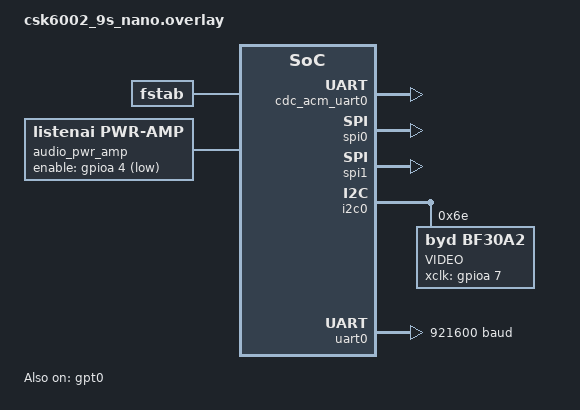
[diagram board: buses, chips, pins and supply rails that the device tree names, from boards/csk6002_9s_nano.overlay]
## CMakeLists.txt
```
cmake_minimum_required(VERSION 3.20.0)
# Copyright (c) 2018 Nordic Semiconductor ASA
# Copyright (c) 2019 Linaro Limited
#
# SPDX-License-Identifier: Apache-2.0
#
#set(ZEPHYR_EXTRA_MODULES $ENV{ZEPHYR_BASE}/../modules/lib/sof_host)


find_package(Zephyr REQUIRED HINTS $ENV{ZEPHYR_BASE})

target_sources(app PRIVATE  src/main.c)
zephyr_compile_options(-g3 -gdwarf-2)


project(sof-dsp)
```

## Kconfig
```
# Private config options for load sencond core firmware app

# SPDX-License-Identifier: Apache-2.0

# Workaround for not being able to have commas in macro arguments

# path to custom driver Kconfig file.


DT_CHOSEN_Z_FLASH_SYSFS_STORAGE := zephyr,flash_sysfs_storage
DT_CHOSEN_Z_FLASH_CONTROLLER := zephyr,flash_controller
DT_CHOSEN_Z_INN_FLASH := zephyr,flash


if DISK_DRIVER_FLASH

	config DISK_FLASH_START
		default "$(dt_chosen_reg_addr_hex,$(DT_CHOSEN_Z_FLASH_SYSFS_STORAGE))"

	config DISK_FLASH_DEV_NAME
		default "$(dt_chosen_label,$(DT_CHOSEN_Z_FLASH_CONTROLLER))"

	config DISK_VOLUME_SIZE
		default "$(dt_chosen_reg_size_hex,$(DT_CHOSEN_Z_FLASH_SYSFS_STORAGE))"


	config DISK_FLASH_MAX_RW_SIZE
		default 4096
		#default $(dt_node_int_prop_hex,$(DT_CHOSEN_Z_INN_FLASH),erase-block-size)

	config DISK_FLASH_ERASE_ALIGNMENT
		default 0x1000
		#default "$(dt_node_int_prop_hex,$(DT_CHOSEN_Z_INN_FLASH),erase-block-size)"

	config DISK_ERASE_BLOCK_SIZE
		default 0x1000
		#default "$(dt_node_int_prop_hex,$(DT_CHOSEN_Z_INN_FLASH),erase-block-size)"
endif


source "Kconfig.zephyr"
```

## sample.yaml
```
tests:
  sample.board.csk6.subsys.sof_host:
    platform_allow: csk6002_c3_nano csk6002_9s_nano csk6011a_9s_nano
    skip: true
    tags: csk6
```

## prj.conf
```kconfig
CONFIG_PRINTK=y
CONFIG_DEBUG=y
CONFIG_LOG=y
CONFIG_LOG_PRINTK=y
# CONFIG_LOG_MODE_IMMEDIATE=y
CONFIG_LOG_BUFFER_SIZE=40960
CONFIG_LOG_STRDUP_MAX_STRING=128
CONFIG_LOG_STRDUP_BUF_COUNT=64
CONFIG_LOG_DETECT_MISSED_STRDUP=n
CONFIG_LOG_BACKEND_SHOW_COLOR=n
CONFIG_LOG_BACKEND_FORMAT_TIMESTAMP=n
CONFIG_LOG_BACKEND_UART=y
CONFIG_LOG_BACKEND_UART_OUTPUT_TEXT=y
CONFIG_GPIO=y
CONFIG_MAIN_STACK_SIZE=2048
CONFIG_HEAP_MEM_POOL_SIZE=92160


#psram init
CONFIG_CSK6_PSRAM=y
CONFIG_NEWLIB_LIBC=y

#file system
CONFIG_FLASH=y
CONFIG_FLASH_MAP=y
CONFIG_FILE_SYSTEM=y
CONFIG_FS_FATFS_CODEPAGE=936
CONFIG_FS_FATFS_LFN=y
CONFIG_FS_FATFS_MAX_LFN=255
CONFIG_FS_FATFS_LFN_MODE_BSS=y
CONFIG_DISK_DRIVER_FLASH=y

#usb mass storage
CONFIG_USB_DEVICE_STACK=y
CONFIG_USB_DEVICE_PRODUCT="Zephyr DFU sample"
CONFIG_USB_MASS_STORAGE=y
CONFIG_MASS_STORAGE_STACK_SIZE=2048
CONFIG_SYSTEM_WORKQUEUE_STACK_SIZE=2048
CONFIG_MASS_STORAGE_DISK_NAME="NAND"

#CONFIG_USB_DRIVER_LOG_LEVEL_ERR=y
#CONFIG_USB_DEVICE_LOG_LEVEL_ERR=y
#CONFIG_USB_MASS_STORAGE_LOG_LEVEL_ERR=y
#CONFIG_USB_DRIVER_LOG_LEVEL_ERR=y

#usb cdc




#Fixd for WinUSB driver install.
CONFIG_USB_DEVICE_VID=0x2FE3
CONFIG_USB_DEVICE_PID=0x200


CONFIG_FAT_FILESYSTEM_ELM=y
#CONFIG_AVF_USE_FS_LITTLEFS=y
#CONFIG_FILE_SYSTEM_LITTLEFS=y
CONFIG_POSIX_MAX_FDS=16



#shell
CONFIG_SHELL_ARGC_MAX=16
CONFIG_SHELL=y
```

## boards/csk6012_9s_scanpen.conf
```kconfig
# use avf example and shell command
CONFIG_AVF_EXAMPLE=y
CONFIG_AVF_SHELL=y

# CP XIP 
# CONFIG_AVF_DSP_XIP=y

# 32MB flash need to initialize at AP firstly, before CP access (16MB-32MB) position 
CONFIG_FLASH=y

# CONFIG_EARLY_CONSOLE=y
# CONFIG_SHELL_BACKEND_SERIAL_INIT_PRIORITY=51

# CONFIG_AVF_DSP_FIRMWARE_LOAD_DEBUG=y
```

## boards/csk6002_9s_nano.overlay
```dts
/*
 * SPDX-License-Identifier: Apache-2.0
 */
 /delete-node/ &storage_partition;

 / {
	 chosen {
		 /*
		  * shared memory reserved for the inter-processor communication
		  */
		 zephyr,ipc_shm = &psram_share;
		 zephyr,ipc = &mailbox0;
		 zephyr,flash_sysfs_storage = &filesystem_part;
		 zephyr,flash_controller = &flash;
		 zephyr,uart-mcumgr = &uart0;
	 };

	 aliases {
		 avf-audio-pwr-amp = &pwr_amp;
	 };

	 fstab {
		 compatible = "zephyr,fstab";
		 lfs1: lfs1 {
			 compatible = "zephyr,fstab,littlefs";
			 mount-point = "/lfs1";
			 partition = <&filesystem_part>;
			 automount ;
			 no-format;
			 read-size = <16>;
			 prog-size = <16>;
			 cache-size = <64>;
			 lookahead-size = <32>;
			 block-cycles = <512>;
		 };
	 };

	 pwr_amp:audio_pwr_amp{
		 compatible = "listenai,pwr-amp";
		 enable-gpios = <&gpioa 4 1>;
		 label = "audio_pwr_amp";
		 status = "okay";
	 };

 };


 &flash0 {
	 partitions {
		 compatible = "fixed-partitions";
		 #address-cells = <1>;
		 #size-cells = <1>;
		 filesystem_part: partition@160000 {
			 label = "filesystem";
			 reg = <0x160000 0x00300000>;
		 };
		 /*
		  * Reserve the final 640 KiB for file system partition
		  */
		 storage_partition: partition@460000 {
			 label = "storage";
			 reg = <0x460000 0x03a0000>;
		 };


	 };
 };

 &zephyr_udc0 {
	 cdc_acm_uart0 {
		 compatible = "zephyr,cdc-acm-uart";
		 label = "CDC_ACM_0";
	 };
 };

 &gpt0 {
	 status = "okay";
	 pwm5: pwm5 {
		 status = "disabled";
	 };

	 pwm4: pwm4 {
		 status = "disabled";
	 };

	 pwm6: pwm6 {
		 status = "disabled";
	 };
 };

 &spi0 {
	 status = "okay";
	 spi-max-frequency = <25000000>;
 };


&spi1 {
    status = "okay";
    spi-max-frequency = <100000000>;
    pinctrl-0 = <&pinctrl_spi1_sclk_default &pinctrl_spi1_mosi_default &pinctrl_spi1_cs_default>;
	pinctrl-names = "default";
};

&csk6002_9s_nano_pinctrl{
                 pinctrl_i2c0_scl_default: i2c0_scl_default{
                         pinctrls = <&pinmuxb 2 8>;
                 };

                 pinctrl_i2c0_sda_default: i2c0_sda_default{
                         pinctrls = <&pinmuxb 3 8>;
                 };

                pinctrl_spi1_sclk_default: spi1_sclk_default {
                    pinctrls = < &pinmuxb 0 7 >;
                };

                pinctrl_spi1_mosi_default: spi1_mosi_default {
                    pinctrls = < &pinmuxb 1 7 >;
                };

                pinctrl_spi1_cs_default: spi1_cs_default {
                    pinctrls = < &pinmuxa 9 7 >;
                };

};

&i2c0 {
        status = "okay";
        pinctrl-0 = <&pinctrl_i2c0_scl_default &pinctrl_i2c0_sda_default>;
        pinctrl-names = "default";

        bf30a2: bf30a2@6e {
            compatible = "byd,bf30a2";
            status = "okay";
            label = "VIDEO";
            reg = <0x6e>;
            xclk-gpios = <&gpioa 7 0>;
            product-id = <0x3b02>;
            spi = <&spi1>;
        };
};

&uart0 {
    current-speed = <921600>;
};
```

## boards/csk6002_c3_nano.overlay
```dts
/*
 * SPDX-License-Identifier: Apache-2.0
 */
/delete-node/ &storage_partition;

/ {
	chosen {
		/*
		 * shared memory reserved for the inter-processor communication
		 */
		zephyr,ipc_shm = &psram_share;
		zephyr,ipc = &mailbox0;
		zephyr,flash_sysfs_storage = &filesystem_part;
		zephyr,flash_controller = &flash;
		zephyr,uart-mcumgr = &uart0;
	};

	aliases {
		avf-audio-pwr-amp = &pwr_amp;
	};

	fstab {
		compatible = "zephyr,fstab";
		lfs1: lfs1 {
			compatible = "zephyr,fstab,littlefs";
			mount-point = "/lfs1";
			partition = <&filesystem_part>;
			automount ;
			no-format;
			read-size = <16>;
			prog-size = <16>;
			cache-size = <64>;
			lookahead-size = <32>;
			block-cycles = <512>;
		};
	};

	pwr_amp:audio_pwr_amp{
		compatible = "listenai,pwr-amp";
		enable-gpios = <&gpioa 4 1>;
		label = "audio_pwr_amp";	
		status = "okay";
	};

};

 
&flash0 {
	partitions {
		compatible = "fixed-partitions";
		#address-cells = <1>;
		#size-cells = <1>;
		filesystem_part: partition@160000 {
			label = "filesystem";
			reg = <0x160000 0x00300000>;
		};
		/*
		 * Reserve the final 640 KiB for file system partition
		 */
		storage_partition: partition@460000 {
			label = "storage";
			reg = <0x460000 0x03a0000>;
		};


	};
};

&zephyr_udc0 {
	cdc_acm_uart0 {
		compatible = "zephyr,cdc-acm-uart";
		label = "CDC_ACM_0";
	};
};

&gpt0 {
	status = "okay";
    pwm5: pwm5 {
        status = "disabled";
    };

	pwm4: pwm4 {
		status = "disabled";
    };

	pwm6: pwm6 {
        status = "disabled";
    };	
};

&spi0 {
    status = "okay";
    spi-max-frequency = <25000000>;
};


&spi1 {
    status = "okay";
    spi-max-frequency = <100000000>;
    pinctrl-0 = <&pinctrl_spi1_sclk_default &pinctrl_spi1_mosi_default &pinctrl_spi1_cs_default>; 
	pinctrl-names = "default";
};

&csk6002_c3_nano_pinctrl{
                 pinctrl_i2c0_scl_default: i2c0_scl_default{
                         pinctrls = <&pinmuxb 2 8>;
                 };
                 
                 pinctrl_i2c0_sda_default: i2c0_sda_default{
                         pinctrls = <&pinmuxb 3 8>;
                 };

                pinctrl_spi1_sclk_default: spi1_sclk_default {
                    pinctrls = < &pinmuxb 0 7 >;
                };

                pinctrl_spi1_mosi_default: spi1_mosi_default {
                    pinctrls = < &pinmuxb 1 7 >;
                };

                pinctrl_spi1_cs_default: spi1_cs_default {
                    pinctrls = < &pinmuxa 9 7 >;
                };

};

&i2c0 {
        status = "okay";
        pinctrl-0 = <&pinctrl_i2c0_scl_default &pinctrl_i2c0_sda_default>; 
        pinctrl-names = "default";

        bf30a2: bf30a2@6e {
            compatible = "byd,bf30a2";
            status = "okay";
            label = "VIDEO";
            reg = <0x6e>;
            pd-gpios = <&gpioa 5 0>;
            pwr-gpios = <&gpioa 5 0>;
            product-id = <0x3b02>;
            spi = <&spi1>;
        };
};

&uart0 {
	current-speed = <921600>;
	status = "okay";
};
```

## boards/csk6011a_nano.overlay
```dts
/*
 * SPDX-License-Identifier: Apache-2.0
 */
/delete-node/ &storage_partition;

/ {
	chosen {
		/*
		 * shared memory reserved for the inter-processor communication
		 */
		zephyr,ipc_shm = &psram_share;
		zephyr,ipc = &mailbox0;
		zephyr,flash_sysfs_storage = &filesystem_part;
		zephyr,flash_controller = &flash;
		zephyr,uart-mcumgr = &uart0;
	};

	aliases {
		avf-audio-pwr-amp = &pwr_amp;
	};

	fstab {
		compatible = "zephyr,fstab";
		lfs1: lfs1 {
			compatible = "zephyr,fstab,littlefs";
			mount-point = "/lfs1";
			partition = <&filesystem_part>;
			automount ;
			no-format;
			read-size = <16>;
			prog-size = <16>;
			cache-size = <64>;
			lookahead-size = <32>;
			block-cycles = <512>;
		};
	};

	pwr_amp:audio_pwr_amp{
		compatible = "listenai,pwr-amp";
		enable-gpios = <&gpioa 4 1>;
		label = "audio_pwr_amp";	
		status = "okay";
	};

};

 
&flash0 {
	partitions {
		compatible = "fixed-partitions";
		#address-cells = <1>;
		#size-cells = <1>;
		filesystem_part: partition@160000 {
			label = "filesystem";
			reg = <0x160000 0x00300000>;
		};
		/*
		 * Reserve the final 640 KiB for file system partition
		 */
		storage_partition: partition@460000 {
			label = "storage";
			reg = <0x460000 0x03a0000>;
		};


	};
};

&zephyr_udc0 {
	cdc_acm_uart0 {
		compatible = "zephyr,cdc-acm-uart";
		label = "CDC_ACM_0";
	};
};

&gpt0 {
	status = "okay";
    pwm5: pwm5 {
        status = "disabled";
    };

	pwm4: pwm4 {
		status = "disabled";
    };

	pwm6: pwm6 {
        status = "disabled";
    };	
};

&spi0 {
    status = "okay";
    spi-max-frequency = <25000000>;
};


&spi1 {
    status = "okay";
    spi-max-frequency = <100000000>;
    pinctrl-0 = <&pinctrl_spi1_sclk_default &pinctrl_spi1_mosi_default &pinctrl_spi1_cs_default>; 
	pinctrl-names = "default";
};

&csk6011a_nano_pinctrl{
                 pinctrl_i2c0_scl_default: i2c0_scl_default{
                         pinctrls = <&pinmuxb 2 8>;
                 };
                 
                 pinctrl_i2c0_sda_default: i2c0_sda_default{
                         pinctrls = <&pinmuxb 3 8>;
                 };

                pinctrl_spi1_sclk_default: spi1_sclk_default {
                    pinctrls = < &pinmuxb 0 7 >;
                };

                pinctrl_spi1_mosi_default: spi1_mosi_default {
                    pinctrls = < &pinmuxb 1 7 >;
                };

                pinctrl_spi1_cs_default: spi1_cs_default {
                    pinctrls = < &pinmuxa 9 7 >;
                };

};

&i2c0 {
        status = "okay";
        pinctrl-0 = <&pinctrl_i2c0_scl_default &pinctrl_i2c0_sda_default>; 
        pinctrl-names = "default";

        bf30a2: bf30a2@6e {
            compatible = "byd,bf30a2";
            status = "okay";
            label = "VIDEO";
            reg = <0x6e>;
            pd-gpios = <&gpioa 5 0>;
            pwr-gpios = <&gpioa 5 0>;
            product-id = <0x3b02>;
            spi = <&spi1>;
        };
};

&uart0 {
	current-speed = <921600>;
	status = "okay";
};
```

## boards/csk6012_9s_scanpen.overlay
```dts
/*
 * Copyright (c) 2021 listenai Intelligent Technology (anhui) Co., Ltd.
 *
 * SPDX-License-Identifier: Apache-2.0
 */
/ {
	chosen {
		/*
		 * shared memory reserved for the inter-processor communication
		 */
		zephyr,ipc_shm = &sof_partition;
		zephyr,ipc = &mailbox0;
		zephyr,flash_sysfs_storage = &filesystem_part;
		zephyr,flash_controller = &flash;
		zephyr,uart-mcumgr = &uart0;
	};

	aliases {
		avf-audio-pwr-amp = &pwr_amp;
	};

	fstab {
		compatible = "zephyr,fstab";
		lfs1: lfs1 {
			compatible = "zephyr,fstab,littlefs";
			mount-point = "/lfs1";
			partition = <&filesystem_part>;
			automount ;
			no-format;
			read-size = <16>;
			prog-size = <16>;
			cache-size = <64>;
			lookahead-size = <32>;
			block-cycles = <512>;
		};
	};

	pwr_amp:audio_pwr_amp{
		compatible = "listenai,pwr-amp";
		enalbe-gpios = <&gpioa 0 0>;
		label = "audio_pwr_amp";	
		status = "okay";
	};

};

/delete-node/ &hifi4_partition;
 
&flash0 {
	partitions {
		compatible = "fixed-partitions";
		#address-cells = <1>;
		#size-cells = <1>;
        /* filesystem: 2.625MB */
        filesystem_part: partition@260000 {
			label = "filesystem";
			reg = <0x260000 0x400000>;
		};
		hifi4_partition: partition@660000 {
			label = "cp-image";
			reg = < 0x660000 0x1a0000>;
		};
	};
};

&i2c0 {
        status = "okay";
        pinctrl-0 = <&pinctrl_i2c0_scl_default &pinctrl_i2c0_sda_default>; 
        pinctrl-names = "default";

        bf30a2: bf30a2@6e {
            compatible = "byd,bf30a2";
            status = "okay";
            label = "VIDEO";
            reg = <0x6e>;
            pd-gpios = <&gpioa 1 0>;
            pwr-gpios = <&gpioa 9 0>;
            product-id = <0x3b02>;
            spi = <&spi0>;
            pwms = <&pwm2 0x2 0x0>;
            xclk-freq = <12500>;
            csk6-spec;
        };
};

&gpt0 {
	status = "okay";

	pwm2: pwm2 {
        clock-prescaler = <1>;
        status = "okay";
        pinctrl-0 = <&pinctrl_pwm2_default>; 
        pinctrl-names = "default";
    };
};

&spi0 {
	    status = "okay";
		    spi-max-frequency = <25000000>;
};

&csk6012_9s_scanpen_pinctrl {

                pinctrl_pwm2_default: pwm2_default{
                    pinctrls = <&pinmuxb 6 11>;
                };

                pinctrl_i2c0_scl_default: i2c0_scl_default{
                        pinctrls = <&pinmuxb 2 8>;
                };
                
                pinctrl_i2c0_sda_default: i2c0_sda_default{
                        pinctrls = <&pinmuxb 3 8>;
                };
};

&uart0 {
	current-speed = <921600>;
};
```

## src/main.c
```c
/*
 *
 * SPDX-License-Identifier: Apache-2.0
 */
#include <zephyr.h>

#include <logging/log.h>

#include <fs/fs.h>


#include <ff.h>


#if(CONFIG_USB_DEVICE_STACK > 0)
#include <usb/usb_device.h>
#endif


#define FS_MOUNT_POINT "/NAND:"
struct fs_mount_t *p_g_fs_mount = NULL;
static struct fs_mount_t fs_mount_p;
static FATFS s_fat_fs;



static void s_fs_show(struct fs_mount_t *mp)
{
	struct fs_statvfs sbuf;
	int rc;

	rc = fs_statvfs(mp->mnt_point, &sbuf);
	if (rc < 0) {
		printk("FAIL: statvfs: %d\n", rc);
		goto out;
	}

	printk("%s: bsize = %lu ; frsize = %lu ;"
	       " blocks = %lu ; bfree = %lu\n",
	       mp->mnt_point, sbuf.f_bsize, sbuf.f_frsize, sbuf.f_blocks, sbuf.f_bfree);

	struct fs_dir_t dir;

	fs_dir_t_init(&dir);

	rc = fs_opendir(&dir, mp->mnt_point);
	printk("%s opendir: %d\n", mp->mnt_point, rc);

	while (rc >= 0) {
		struct fs_dirent ent = { 0 };

		rc = fs_readdir(&dir, &ent);
		if (rc < 0) {
			break;
		}
		if (ent.name[0] == 0) {
			printk("End of files\n");
			break;
		}
		printk("  %c %zu %s\n", (ent.type == FS_DIR_ENTRY_FILE) ? 'F' : 'D', ent.size,
		       ent.name);
	}

	(void)fs_closedir(&dir);
	printk("%s closedir\n", mp->mnt_point);
out:
	return;
}

static int s_fs_mount(void)
{
	struct fs_mount_t *mp;
	int rc;

	if (p_g_fs_mount != NULL) {
		printk("The mount point<%s> busy!\n", p_g_fs_mount->mnt_point);
		return -1;
	}
	p_g_fs_mount = &fs_mount_p;
	mp = p_g_fs_mount;
	memset(mp, 0, sizeof(struct fs_mount_t));
	mp->type = FS_FATFS;
	/*mp->flags |= FS_MOUNT_FLAG_NO_FORMAT;*/
	mp->fs_data = &s_fat_fs;
	mp->mnt_point = FS_MOUNT_POINT;
	rc = fs_mount(mp);
	if (rc < 0) {
		printk("FAIL: mount id %" PRIuPTR " at %s: %d\n", (uintptr_t)mp->storage_dev,
		       mp->mnt_point, rc);
		return rc;
	}
	printk("%s mount: %d\n", mp->mnt_point, rc);

	s_fs_show(mp);

	return 0;
}



void main(void)
{

	s_fs_mount();


	while (1) {
		k_msleep(1000);
	}
}
```

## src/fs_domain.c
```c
#include <zephyr.h>
#include <fs/fs.h>
#include <devicetree.h>
#if defined(CONFIG_AVF_USE_FS_LITTLEFS)
#include <fs/littlefs.h>
#include <storage/flash_map.h>

#elif defined(CONFIG_AVF_USE_FS_FATFS)
#include <ff.h>
#endif

#if(CONFIG_USB_DEVICE_STACK > 0)
#include <usb/usb_device.h>
#endif

#if defined(CONFIG_AVF_USE_FS_LITTLEFS) || defined(CONFIG_AVF_USE_FS_FATFS)

#if defined(CONFIG_AVF_USE_FS_LITTLEFS)
/* Matches LFS_NAME_MAX */
#define MAX_PATH_LEN 255
#define PARTITION_NODE DT_NODELABEL(lfs1)
#if DT_NODE_EXISTS(PARTITION_NODE)
FS_FSTAB_DECLARE_ENTRY(PARTITION_NODE);
struct fs_mount_t *p_g_fs_mount = &FS_FSTAB_ENTRY(PARTITION_NODE);
#else /* PARTITION_NODE */
#error "Please declare the region of the file system first"
#endif /* PARTITION_NODE */
#elif defined(CONFIG_AVF_USE_FS_FATFS)
#define FS_MOUNT_POINT CONFIG_AVF_FS_MOUNT_POINT
struct fs_mount_t *p_g_fs_mount = NULL;
static struct fs_mount_t fs_mount_p;
static FATFS s_fat_fs;

#endif

static void s_fs_show(struct fs_mount_t *mp)
{
	struct fs_statvfs sbuf;
	int rc;

	rc = fs_statvfs(mp->mnt_point, &sbuf);
	if (rc < 0) {
		printk("FAIL: statvfs: %d\n", rc);
		goto out;
	}

	printk("%s: bsize = %lu ; frsize = %lu ;"
	       " blocks = %lu ; bfree = %lu\n",
	       mp->mnt_point, sbuf.f_bsize, sbuf.f_frsize, sbuf.f_blocks, sbuf.f_bfree);

	struct fs_dir_t dir;

	fs_dir_t_init(&dir);

	rc = fs_opendir(&dir, mp->mnt_point);
	printk("%s opendir: %d\n", mp->mnt_point, rc);

	while (rc >= 0) {
		struct fs_dirent ent = { 0 };

		rc = fs_readdir(&dir, &ent);
		if (rc < 0) {
			break;
		}
		if (ent.name[0] == 0) {
			printk("End of files\n");
			break;
		}
		printk("  %c %zu %s\n", (ent.type == FS_DIR_ENTRY_FILE) ? 'F' : 'D', ent.size,
		       ent.name);
	}

	(void)fs_closedir(&dir);
	printk("%s closedir\n", mp->mnt_point);
out:
	return;
}

static int s_fs_init(void)
{
	struct fs_mount_t *mp;
	int rc;

#if defined(CONFIG_AVF_USE_FS_LITTLEFS)
	mp = p_g_fs_mount;
	/* Do not mount if auto-mount has been enabled */
#if !DT_NODE_EXISTS(PARTITION_NODE) ||                                                             \
	!(FSTAB_ENTRY_DT_MOUNT_FLAGS(PARTITION_NODE) & FS_MOUNT_FLAG_AUTOMOUNT)

	rc = fs_mount(mp);
	if (rc < 0) {
		printk("FAIL: mount id %" PRIuPTR " at %s: %d\n", (uintptr_t)mp->storage_dev,
		       mp->mnt_point, rc);
		return rc;
	}
	printk("%s mount: %d\n", mp->mnt_point, rc);
#else
	printk("%s automounted\n", mp->mnt_point);
#endif

#elif defined(CONFIG_AVF_USE_FS_FATFS)
	if (p_g_fs_mount != NULL) {
		printk("The mount point<%s> busy!\n", p_g_fs_mount->mnt_point);
		return -1;
	}
	p_g_fs_mount = &fs_mount_p;
	mp = p_g_fs_mount;
	memset(mp, 0, sizeof(struct fs_mount_t));
	mp->type = FS_FATFS;
	/*mp->flags |= FS_MOUNT_FLAG_NO_FORMAT;*/
	mp->fs_data = &s_fat_fs;
	mp->mnt_point = FS_MOUNT_POINT;
	rc = fs_mount(mp);
	if (rc < 0) {
		printk("FAIL: mount id %" PRIuPTR " at %s: %d\n", (uintptr_t)mp->storage_dev,
		       mp->mnt_point, rc);
		return rc;
	}
	printk("%s mount: %d\n", mp->mnt_point, rc);
#endif
	s_fs_show(mp);

	return 0;
}
#endif

void s_fs_mount(void)
{
	int ret;
//file system init
#if defined(CONFIG_AVF_USE_FS_LITTLEFS) || defined(CONFIG_AVF_USE_FS_FATFS)
	s_fs_init();
#else
	#error "Please define file system type!"
#endif

#if defined(CONFIG_AVF_USE_FS_FATFS)&&(CONFIG_USB_DEVICE_STACK > 0)
	ret = usb_enable(NULL);
	if (ret != 0) {
		printk("Failed to enable USB");
		return;
	}
#elif defined(CONFIG_AVF_USE_FS_LITTLEFS)
	if(0 != strcmp(CONFIG_AVF_FS_MOUNT_POINT,p_g_fs_mount->mnt_point)){
		__ASSERT(0,"The avf fs mount point error!");
	}
#endif
}
```

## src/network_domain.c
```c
#include <zephyr.h>

#include <stdlib.h>
#include <sys/printk.h>
#include <sys/sys_heap.h>

#include <net/net_if.h>
#include <net/net_core.h>
#include <net/net_context.h>
#include <net/net_mgmt.h>

#include <logging/log.h>
LOG_MODULE_REGISTER(csk_wifi_sta, LOG_LEVEL_DBG);

#include "csk6/csk_wifi.h"

static csk_wifi_event_cb_t wifi_event_cb;
static struct net_mgmt_event_callback dhcp_cb;
static void handler_cb(struct net_mgmt_event_callback *cb, uint32_t mgmt_event, struct net_if *iface)
{
    if (mgmt_event != NET_EVENT_IPV4_DHCP_BOUND) {
        return;
    }

    char buf[NET_IPV4_ADDR_LEN];

    printk("Your address: %s\n", net_addr_ntop(AF_INET, &iface->config.dhcpv4.requested_ip, buf, sizeof(buf)));
    printk("Lease time: %u seconds\n", iface->config.dhcpv4.lease_time);
    printk("Subnet: %s\n", net_addr_ntop(AF_INET, &iface->config.ip.ipv4->netmask, buf, sizeof(buf)));
    printk("Router: %s\n", net_addr_ntop(AF_INET, &iface->config.ip.ipv4->gw, buf, sizeof(buf)));

}


static void wifi_event_handler(csk_wifi_event_t events, void *event_data, uint32_t data_len, void *arg)
{
    if (events & CSK_WIFI_EVT_STA_CONNECTED) {
        printk("[WiFi sta] connected\n");
    } else if (events & CSK_WIFI_EVT_STA_DISCONNECTED) {
        printk("[WiFi sta] disconnected\n");
    } else {
        abort();
    }
}

void network_domain_task(void){
    wifi_event_cb.handler = &wifi_event_handler;
    wifi_event_cb.events = CSK_WIFI_EVT_STA_CONNECTED | CSK_WIFI_EVT_STA_DISCONNECTED;
    wifi_event_cb.arg = NULL;
    csk_wifi_add_callback(&wifi_event_cb);

    csk_wifi_sta_config_t sta_config = {
        .ssid = CONFIG_EXAMPLE_WIFI_SSID,
        .pwd = CONFIG_EXAMPLE_WIFI_PASSWORD,
        .encryption_mode = CSK_WIFI_AUTH_WPA2_PSK
    };

    int retry_count = 0;
    csk_wifi_result_t wifi_result;
    do {
        printk("connecting to wifi: %s ...\n", sta_config.ssid);
        int ret = csk_wifi_sta_connect(&sta_config, &wifi_result, K_FOREVER);
        if (ret == 0) {
            break;
        } else {
            if (wifi_result == CSK_WIFI_ERR_STA_FAILED) {
                retry_count++;
                printk("retry to connecting wifi ... %d\n", retry_count);
            } else {
                printk("AP not found or invalid password\n");
                abort();
            }
        }
    } while (retry_count < 10);
    net_mgmt_init_event_callback(&dhcp_cb, handler_cb, NET_EVENT_IPV4_DHCP_BOUND);
    net_mgmt_add_event_callback(&dhcp_cb);
    struct net_if *iface = net_if_get_default();
    if (!iface) {
        printk("wifi interface not available");
        return;
    }
    net_dhcpv4_start(iface);

	while (1) {
		k_sleep(K_MSEC(1000));
	}
}


struct k_thread network_thread;

K_KERNEL_STACK_DEFINE(network_stack, 512);

void network_domain(void){
	k_thread_create(&network_thread, network_stack,
				K_KERNEL_STACK_SIZEOF(network_stack), &network_domain_task, NULL, NULL, NULL,
				2, 0, K_NO_WAIT);
	k_thread_system_pool_assign(&network_thread);
}
```

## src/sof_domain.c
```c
/*
 * Copyright (c) 2020 Intel Corporation.
 *
 * SPDX-License-Identifier: Apache-2.0
 */

#include <zephyr.h>
#include <avf_platform.h>

void sof_domain(void){
    avf_stream_platform_register();
}
```
